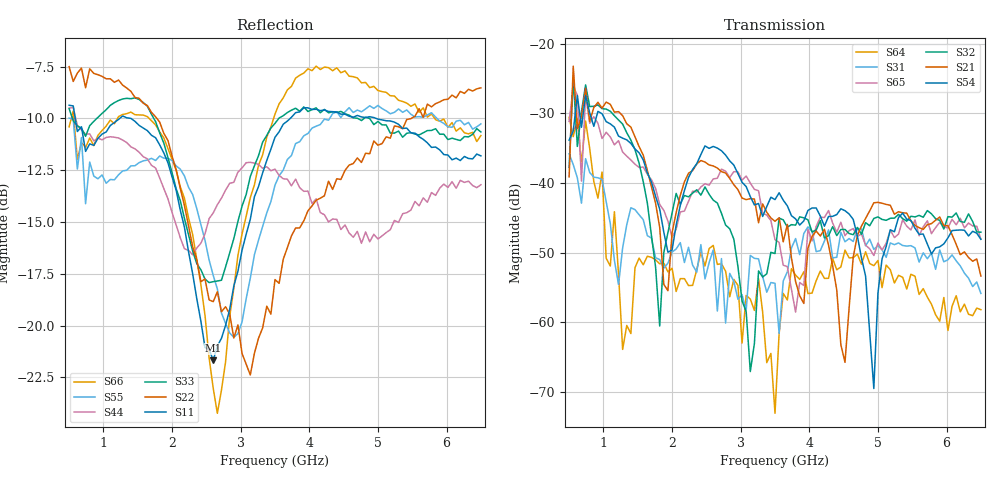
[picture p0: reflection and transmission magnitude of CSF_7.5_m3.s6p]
!Keysight Technologies,M9804A,MY58100912,A.14.10.03
!Date: Thursday, April 27, 2023 10:28:33
!Correction: S11(C  6-Port  )
!S12(C  6-Port  )
!S13(C  6-Port  )
!S14(C  6-Port  )
!S15(C  6-Port  )
!S16(C  6-Port  )
!S21(C  6-Port  )
!S22(C  6-Port  )
!S23(C  6-Port  )
!S24(C  6-Port  )
!S25(C  6-Port  )
!S26(C  6-Port  )
!S31(C  6-Port  )
!S32(C  6-Port  )
!S33(C  6-Port  )
!S34(C  6-Port  )
!S35(C  6-Port  )
!S36(C  6-Port  )
!S41(C  6-Port  )
!S42(C  6-Port  )
!S43(C  6-Port  )
!S44(C  6-Port  )
!S45(C  6-Port  )
!S46(C  6-Port  )
!S51(C  6-Port  )
!S52(C  6-Port  )
!S53(C  6-Port  )
!S54(C  6-Port  )
!S55(C  6-Port  )
!S56(C  6-Port  )
!S61(C  6-Port  )
!S62(C  6-Port  )
!S63(C  6-Port  )
!S64(C  6-Port  )
!S65(C  6-Port  )
!S66(C  6-Port  )
!S6P File: Measurement: :
# Hz S  RI  R 50
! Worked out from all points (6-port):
!   101 points, 500 MHz to 6.5 GHz, reference 50 ohm
!   strongest paths, dB at 500 MHz, 2 GHz, 3.5 GHz, 5 GHz, 6.5 GHz:
!     S54: -33.8, -49.6, -42.4, -55.8, -48.1
!     S21: -39.1, -47.1, -45.5, -42.8, -53.4
!     S32: -37.7, -44.3, -50.1, -44.9, -47.1
!     S65: -31.1, -47.8, -48.1, -48.6, -48.1
!     S31: -35.8, -49.9, -54.4, -49.0, -55.9
!     S64: -30.6, -52.2, -73.1, -51.1, -58.2
!   lowest |S11| = -21.7 dB at 2.6 GHz (marker M1), VSWR 1.18, Z = 42.6 + j2.07 ohm
!   |S11| at or under -10 dB: 589.3 MHz to 1.237 GHz (648.1 MHz wide, 71 % of centre); 1.401 GHz to 3.722 GHz (2.321 GHz wide, 90.6 % of centre); 4.973 GHz to end of sweep
